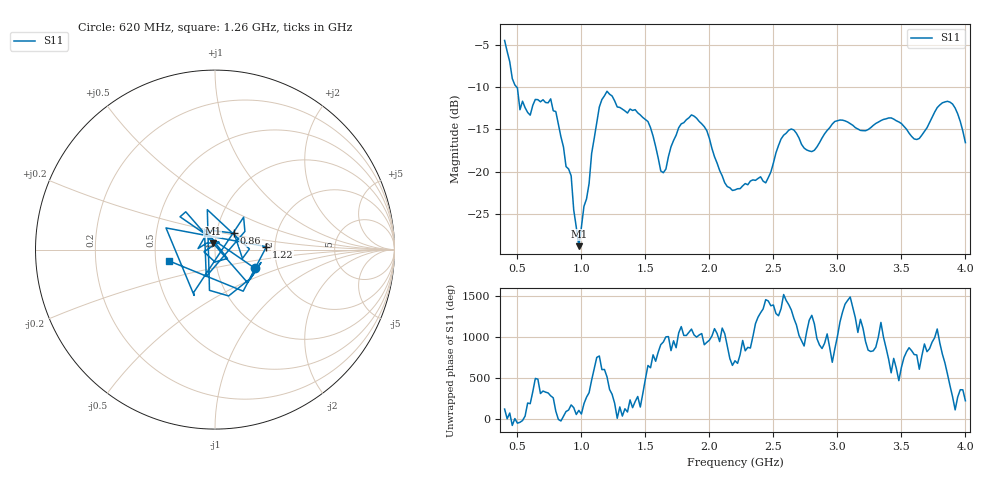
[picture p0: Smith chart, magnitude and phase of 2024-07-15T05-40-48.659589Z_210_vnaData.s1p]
!Created with skrf (http://scikit-rf.org).
# Hz S RI R 50.0
!freq ReS11 ImS11
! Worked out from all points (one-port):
!   181 points, 400 MHz to 4 GHz, reference 50 ohm
!   lowest |S11| = -28.8 dB at 980 MHz (marker M1), VSWR 1.08, Z = 48.6 + j3.32 ohm
!   |S11| at or under -10 dB: 493.9 MHz to end of sweep
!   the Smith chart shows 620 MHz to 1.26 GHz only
!   S11 on the Smith chart (normalised r, x): 620 MHz: 1.53, -0.34; 860 MHz: 1.21, +0.23; 1.22 GHz: 1.80, +0.06; 1.26 GHz: 0.59, -0.08
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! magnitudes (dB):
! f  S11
! 400 MHz  -4.5
! 520 MHz  -12.7
! 620 MHz  -12.2
! 760 MHz  -11.4
! 860 MHz  -17.1
! 920 MHz  -20.5
! 980 MHz  -28.8
! 1.14 GHz  -12.4
! 1.22 GHz  -10.8
! 1.26 GHz  -11.6
! 1.3 GHz  -12.4
! 1.52 GHz  -14.1
! 1.64 GHz  -20.1
! 1.76 GHz  -14.8
! 1.94 GHz  -14.3
! 2.12 GHz  -21.3
! 2.2 GHz  -22.1
! 2.44 GHz  -21.3
! 2.56 GHz  -16.1
! 2.66 GHz  -15.1
! 2.8 GHz  -17.6
! 2.98 GHz  -14.1
! 3.1 GHz  -14.3
! 3.42 GHz  -13.6
! 3.56 GHz  -15.4
! 3.64 GHz  -16.1
! 3.86 GHz  -11.7
! 4 GHz  -16.6
